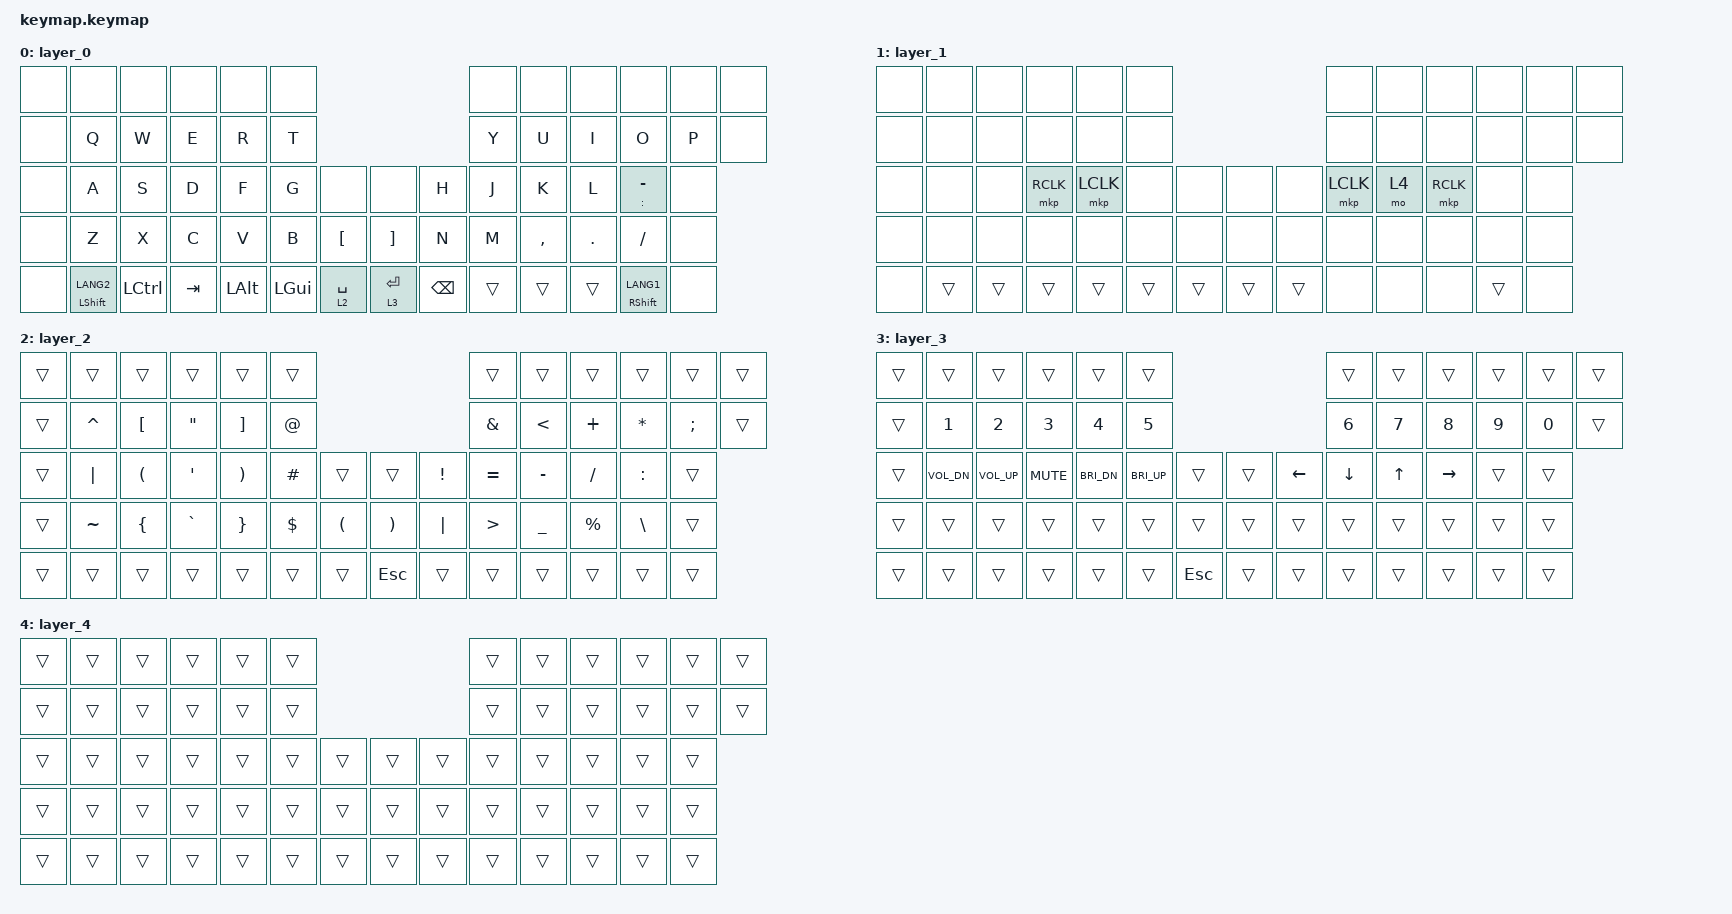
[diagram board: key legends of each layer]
#include <behaviors.dtsi>
#include <dt-bindings/zmk/bt.h>
#include <dt-bindings/zmk/keys.h>
#include <dt-bindings/zmk/pointing.h>

/ {
    combos {
        compatible = "zmk,combos";

        bt_clear {
            bindings = <&bt BT_CLR>;
            key-positions = <28 29>;
            layers = <2>;
        };

    };

    keymap {
        compatible = "zmk,keymap";

        layer_0 {
            bindings = <
&none  &none            &none      &none    &none     &none                               &none     &none   &none      &none    &none                   &none
&none  &kp Q            &kp W      &kp E    &kp R     &kp T                               &kp Y     &kp U   &kp I      &kp O    &kp P                   &none
&none  &kp A            &kp S      &kp D    &kp F     &kp G     &none        &none        &kp H     &kp J   &kp K      &kp L    &mt COLON MINUS  &none
&none  &kp Z            &kp X      &kp C    &kp V     &kp B     &kp LBKT     &kp RBKT     &kp N     &kp M   &kp COMMA  &kp DOT  &kp FSLH         &none
&none  &mt LSHFT LANG2  &kp LCTRL  &kp TAB  &kp LALT  &kp LGUI  &lt 2 SPACE  &lt 3 ENTER  &kp BSPC  &trans  &trans     &trans   &mt RSHFT LANG1  &none
            >;
        };

        layer_1 {
            bindings = <
&none  &none   &none   &none      &none      &none                          &none   &none      &none   &none      &none      &none
&none  &none   &none   &none      &none      &none                          &none   &none      &none   &none      &none      &none
&none  &none   &none   &mkp RCLK  &mkp LCLK  &none   &none     &none        &none   &mkp LCLK  &mo 4   &mkp RCLK  &none      &none
&none  &none   &none   &none      &none      &none   &none     &none        &none   &none      &none   &none      &none      &none
&none  &trans  &trans  &trans     &trans     &trans  &trans    &trans       &trans  &none      &none   &none      &trans     &none
            >;
        };

        layer_2 {
            bindings = <
&trans  &trans     &trans    &trans     &trans    &trans                        &trans    &trans     &trans     &trans     &trans     &trans
&trans  &kp CARET  &kp LBKT  &kp DQT    &kp RBKT  &kp AT                        &kp AMPS  &kp LT     &kp PLUS   &kp ASTRK  &kp SEMI   &trans
&trans  &kp PIPE   &kp LPAR  &kp SQT    &kp RPAR  &kp HASH  &trans    &trans    &kp EXCL  &kp EQUAL  &kp MINUS  &kp FSLH   &kp COLON  &trans
&trans  &kp TILDE  &kp LBRC  &kp GRAVE  &kp RBRC  &kp DLLR  &kp LPAR  &kp RPAR  &kp PIPE  &kp GT     &kp UNDER  &kp PRCNT  &kp BSLH   &trans
&trans  &trans     &trans    &trans     &trans    &trans    &trans    &kp ESC    &trans    &trans     &trans     &trans     &trans     &trans
            >;
        };

        layer_3 {
            bindings = <
&trans  &trans        &trans        &trans      &trans        &trans                        &trans    &trans    &trans  &trans     &trans  &trans
&trans  &kp N1        &kp N2        &kp N3      &kp N4        &kp N5                        &kp N6    &kp N7    &kp N8  &kp N9     &kp N0  &trans
&trans  &kp C_VOL_DN  &kp C_VOL_UP  &kp C_MUTE  &kp C_BRI_DN  &kp C_BRI_UP  &trans  &trans  &kp LEFT  &kp DOWN  &kp UP  &kp RIGHT  &trans  &trans
&trans  &trans        &trans        &trans      &trans        &trans        &trans  &trans  &trans    &trans    &trans  &trans     &trans  &trans
&trans  &trans        &trans        &trans      &trans        &trans        &kp ESC  &trans  &trans    &trans    &trans  &trans     &trans  &trans
            >;
        };

        layer_4 {
            bindings = <
&trans  &trans  &trans  &trans  &trans  &trans                  &trans  &trans  &trans  &trans  &trans  &trans
&trans  &trans  &trans  &trans  &trans  &trans                  &trans  &trans  &trans  &trans  &trans  &trans
&trans  &trans  &trans  &trans  &trans  &trans  &trans  &trans  &trans  &trans  &trans  &trans  &trans  &trans
&trans  &trans  &trans  &trans  &trans  &trans  &trans  &trans  &trans  &trans  &trans  &trans  &trans  &trans
&trans  &trans  &trans  &trans  &trans  &trans  &trans  &trans  &trans  &trans  &trans  &trans  &trans  &trans
            >;
        };
    };
};
